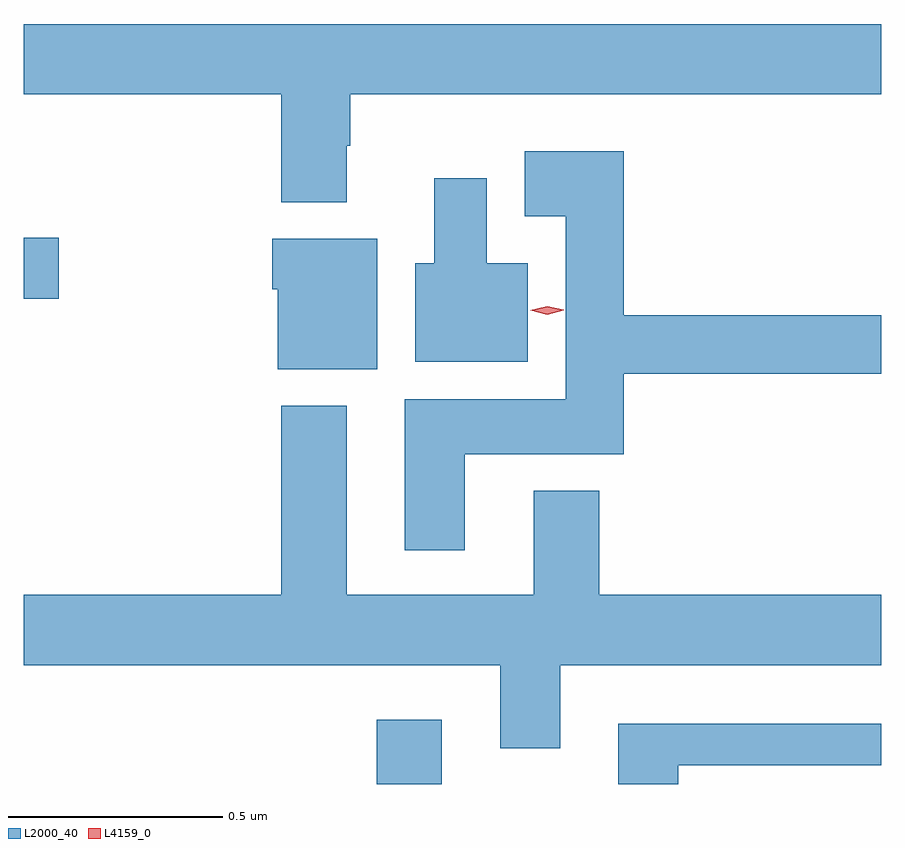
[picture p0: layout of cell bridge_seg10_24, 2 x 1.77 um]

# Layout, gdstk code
import gdstk
lib = gdstk.Library(unit=1e-6, precision=1e-09)
def R(c, l, rs):  # rectangles x0, y0, x1, y1
    for r in rs: c.add(gdstk.rectangle(r[:2], r[2:], *l))
def P(c, l, *ps):  # polygons
    for p in ps: c.add(gdstk.Polygon(p, *l))
L2000_40 = (2000, 40)
L4159_0 = (4159, 0)

bridge_seg10_24 = lib.new_cell('bridge_seg10_24')
R(bridge_seg10_24, L2000_40, [(996.977,1249.423,997.129,1249.573), (996.154,1250.555,996.235,1250.697)])
P(bridge_seg10_24, L2000_40, [(996.907,1250.912),(996.915,1250.912),(996.915,1251.032),(998.154,1251.032),(998.154,1251.196),(996.154,1251.196),(996.154,1251.032),(996.755,1251.032),(996.755,1250.78),(996.907,1250.78)],
  [(997.183,1250.192),(997.553,1250.192),(997.553,1250.38),(998.154,1250.38),(998.154,1250.516),(997.553,1250.516),(997.553,1250.899),(997.323,1250.899),(997.323,1250.747),(997.418,1250.747),(997.418,1250.32),(997.043,1250.32),(997.043,1249.968),(997.183,1249.968)],
  [(997.33,1250.638),(997.234,1250.638),(997.234,1250.836),(997.112,1250.836),(997.112,1250.638),(997.067,1250.638),(997.067,1250.408),(997.33,1250.408)],
  [(996.979,1250.695),(996.734,1250.695),(996.734,1250.577),(996.746,1250.577),(996.746,1250.39),(996.979,1250.39)],
  [(997.405,1249.7),(998.154,1249.7),(998.154,1249.864),(997.496,1249.864),(997.496,1250.107),(997.343,1250.107),(997.343,1249.864),(996.907,1249.864),(996.907,1250.305),(996.755,1250.305),(996.755,1249.864),(996.154,1249.864),(996.154,1249.7),(997.265,1249.7),(997.265,1249.506),(997.405,1249.506)],
  [(997.681,1249.467),(998.154,1249.467),(998.154,1249.564),(997.541,1249.564),(997.541,1249.423),(997.681,1249.423)])
P(bridge_seg10_24, L4159_0, [(997.375,1250.518),(997.335,1250.528),(997.335,1250.528),(997.335,1250.528),(997.375,1250.538),(997.414,1250.529),(997.414,1250.528),(997.414,1250.528)])

lib.write_gds('bridge_seg10_24.gds')
